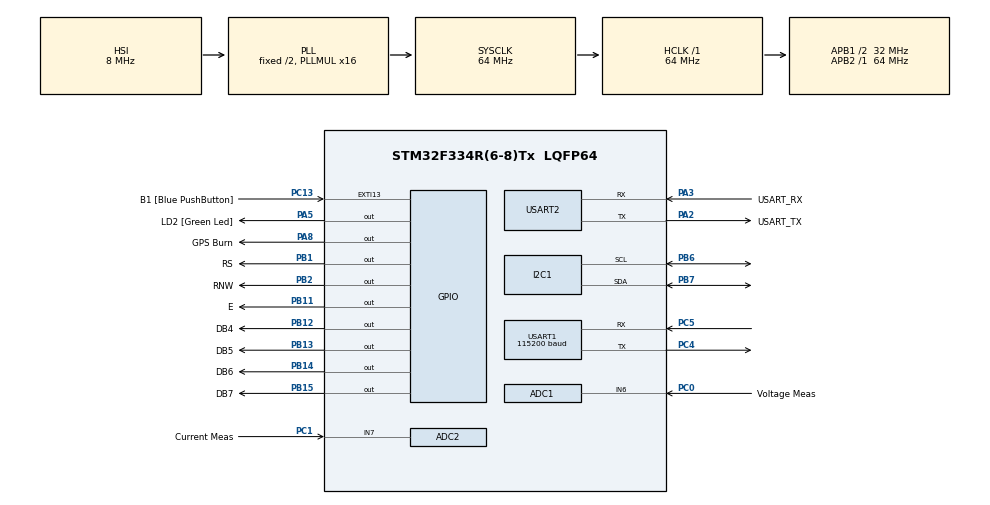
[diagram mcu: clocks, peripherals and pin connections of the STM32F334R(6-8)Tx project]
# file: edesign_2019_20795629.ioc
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ADC1.Channel-0\#ChannelRegularConversion=ADC_CHANNEL_6
ADC1.ClockPrescaler=ADC_CLOCK_ASYNC_DIV1
ADC1.ContinuousConvMode=DISABLE
ADC1.DiscontinuousConvMode=DISABLE
ADC1.InjNumberOfConversion=0
ADC1.NbrOfConversion=1
ADC1.NbrOfConversionFlag=1
ADC1.Offset-0\#ChannelRegularConversion=0
ADC1.OffsetNumber-0\#ChannelRegularConversion=ADC_OFFSET_NONE
ADC1.Rank-0\#ChannelRegularConversion=1
ADC1.Resolution=ADC_RESOLUTION_12B
ADC1.SamplingTime-0\#ChannelRegularConversion=ADC_SAMPLETIME_2CYCLES_5
ADC1.SubFamily=STM32F334x8
ADC1.master=1
ADC2.Channel-24\#ChannelRegularConversion=ADC_CHANNEL_7
ADC2.ContinuousConvMode=DISABLE
ADC2.NbrOfConversion=1
ADC2.NbrOfConversionFlag=1
ADC2.Offset-24\#ChannelRegularConversion=0
ADC2.OffsetNumber-24\#ChannelRegularConversion=ADC_OFFSET_NONE
ADC2.Rank-24\#ChannelRegularConversion=1
ADC2.SamplingTime-24\#ChannelRegularConversion=ADC_SAMPLETIME_2CYCLES_5
ADC2.SubFamily=STM32F334x8
Mcu.Family=STM32F3
Mcu.Name=STM32F334R(6-8)Tx
Mcu.Package=LQFP64
NVIC.PriorityGroup=NVIC_PRIORITYGROUP_0
NVIC.TIM2_IRQn=true\:0\:0\:false\:false\:true\:true\:true
NVIC.TIM3_IRQn=true\:0\:0\:false\:false\:true\:true\:true
NVIC.USART1_IRQn=true\:0\:0\:false\:false\:true\:true\:true
PA13.GPIO_Label=TMS
PA13.Mode=Serial_Wire
PA13.Signal=SYS_JTMS-SWDIO
PA14.GPIO_Label=TCK
PA14.Mode=Serial_Wire
PA14.Signal=SYS_JTCK-SWCLK
PA2.GPIO_Label=USART_TX
PA2.Mode=Asynchronous
PA2.Signal=USART2_TX
PA3.GPIO_Label=USART_RX
PA3.Mode=Asynchronous
PA3.Signal=USART2_RX
PA5.GPIO_Label=LD2 [Green Led]
PA5.Signal=GPIO_Output
PA8.GPIO_Label=GPS Burn
PA8.Signal=GPIO_Output
PB1.GPIO_Label=RS
PB1.Signal=GPIO_Output
PB11.GPIO_Label=E
PB11.Signal=GPIO_Output
PB12.GPIO_Label=DB4
PB12.Signal=GPIO_Output
PB13.GPIO_Label=DB5
PB13.Signal=GPIO_Output
PB14.GPIO_Label=DB6
PB14.Signal=GPIO_Output
PB15.GPIO_Label=DB7
PB15.Signal=GPIO_Output
PB2.GPIO_Label=RNW
PB2.Signal=GPIO_Output
PB3.GPIO_Label=SWO
PB3.Signal=SYS_JTDO-TRACESWO
PB6.Mode=I2C
PB6.Signal=I2C1_SCL
PB7.Mode=I2C
PB7.Signal=I2C1_SDA
PC0.GPIO_Label=Voltage Meas
PC0.Signal=ADCx_IN6
PC1.GPIO_Label=Current Meas
PC1.Signal=ADCx_IN7
PC13.GPIO_Label=B1 [Blue PushButton]
PC13.GPIO_ModeDefaultEXTI=GPIO_MODE_IT_FALLING
PC13.Signal=GPXTI13
PC14\ /\ OSC32_IN.Mode=LSE-External-Oscillator
PC14\ /\ OSC32_IN.Signal=RCC_OSC32_IN
PC15\ /\ OSC32_OUT.GPIO_Label=RCC_OSC32_OUT
PC15\ /\ OSC32_OUT.Mode=LSE-External-Oscillator
PC15\ /\ OSC32_OUT.Signal=RCC_OSC32_OUT
PC4.Mode=Asynchronous
PC4.Signal=USART1_TX
PC5.Mode=Asynchronous
PC5.Signal=USART1_RX
PF0\ /\ OSC_IN.Mode=HSE-External-Clock-Source
PF0\ /\ OSC_IN.Signal=RCC_OSC_IN
PF1\ /\ OSC_OUT.Signal=RCC_OSC_OUT
ProjectManager.HeapSize=0x200
ProjectManager.StackSize=0x400
ProjectManager.TargetToolchain=TrueSTUDIO
RCC.AHBFreq_Value=64000000
RCC.APB1CLKDivider=RCC_HCLK_DIV2
RCC.APB1Freq_Value=32000000
RCC.APB1TimFreq_Value=64000000
RCC.APB2Freq_Value=64000000
RCC.APB2TimFreq_Value=64000000
RCC.CortexFreq_Value=64000000
RCC.FLatency-AdvancedSettings=FLASH_LATENCY_2
RCC.HCLKFreq_Value=64000000
RCC.HSE_VALUE=8000000
RCC.HSI_VALUE=8000000
RCC.PLLMUL=RCC_PLL_MUL16
RCC.SYSCLKFreq_VALUE=64000000
RCC.SYSCLKSourceVirtual=RCC_SYSCLKSOURCE_PLLCLK
SH.ADCx_IN6.0=ADC1_IN6,IN6-Single-Ended
SH.ADCx_IN7.0=ADC2_IN7,IN7-Single-Ended
TIM2.Period=15999
TIM2.Prescaler=4000
TIM3.Period=799
TIM3.Prescaler=4000
USART1.BaudRate=115200
USART1.VirtualMode-Asynchronous=VM_ASYNC
USART2.VirtualMode-Asynchronous=VM_ASYNC
VP_TIM2_VS_ClockSourceINT.Mode=Internal
VP_TIM3_VS_ClockSourceINT.Mode=Internal
board=NUCLEO-F334R8

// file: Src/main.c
/* USER CODE BEGIN Header */
/**
  ******************************************************************************
  * @file           : main.c
  * @brief          : Main program body
  ******************************************************************************
  ** This notice applies to any and all portions of this file
  * that are not between comment pairs USER CODE BEGIN and
  * USER CODE END. Other portions of this file, whether
  * inserted by the user or by software development tools
  * are owned by their respective copyright owners.
  *
  * COPYRIGHT(c) 2019 STMicroelectronics
  *
  * Redistribution and use in source and binary forms, with or without modification,
  * are permitted provided that the following conditions are met:
  *   1. Redistributions of source code must retain the above copyright notice,
  *      this list of conditions and the following disclaimer.
  *   2. Redistributions in binary form must reproduce the above copyright notice,
  *      this list of conditions and the following disclaimer in the documentation
  *      and/or other materials provided with the distribution.
  *   3. Neither the name of STMicroelectronics nor the names of its contributors
  *      may be used to endorse or promote products derived from this software
  *      without specific prior written permission.
  *
  * THIS SOFTWARE IS PROVIDED BY THE COPYRIGHT HOLDERS AND CONTRIBUTORS "AS IS"
  * AND ANY EXPRESS OR IMPLIED WARRANTIES, INCLUDING, BUT NOT LIMITED TO, THE
  * IMPLIED WARRANTIES OF MERCHANTABILITY AND FITNESS FOR A PARTICULAR PURPOSE ARE
  * DISCLAIMED. IN NO EVENT SHALL THE COPYRIGHT HOLDER OR CONTRIBUTORS BE LIABLE
  * FOR ANY DIRECT, INDIRECT, INCIDENTAL, SPECIAL, EXEMPLARY, OR CONSEQUENTIAL
  * DAMAGES (INCLUDING, BUT NOT LIMITED TO, PROCUREMENT OF SUBSTITUTE GOODS OR
  * SERVICES; LOSS OF USE, DATA, OR PROFITS; OR BUSINESS INTERRUPTION) HOWEVER
  * CAUSED AND ON ANY THEORY OF LIABILITY, WHETHER IN CONTRACT, STRICT LIABILITY,
  * OR TORT (INCLUDING NEGLIGENCE OR OTHERWISE) ARISING IN ANY WAY OUT OF THE USE
  * OF THIS SOFTWARE, EVEN IF ADVISED OF THE POSSIBILITY OF SUCH DAMAGE.
  *
  ******************************************************************************
  */
/* USER CODE END Header */

#include "main.h"

/* USER CODE BEGIN Includes */
#include "bme280.h"
#include "functions.h"
#include "lis2dh12_reg.h"
/* USER CODE END Includes */

ADC_HandleTypeDef hadc1;
ADC_HandleTypeDef hadc2;

I2C_HandleTypeDef hi2c1;

TIM_HandleTypeDef htim2;
TIM_HandleTypeDef htim3;

UART_HandleTypeDef huart1;
UART_HandleTypeDef huart2;

/* USER CODE BEGIN PV */
//extern volatile uint8_t count_flag;
//extern int runtime;
//extern char out_string[90];
/* USER CODE END PV */

void SystemClock_Config(void);
static void MX_GPIO_Init(void);
static void MX_USART2_UART_Init(void);
static void MX_USART1_UART_Init(void);
static void MX_TIM2_Init(void);
static void MX_ADC1_Init(void);
static void MX_ADC2_Init(void);
static void MX_TIM3_Init(void);
static void MX_I2C1_Init(void);

int main(void)
{

  /* MCU Configuration--------------------------------------------------------*/

  /* Reset of all peripherals, Initializes the Flash interface and the Systick. */
  HAL_Init();

  /* USER CODE BEGIN Init */
  runtime = 0;
  in_len = 0;
  cnt_readings = 0;
  syscounter=0;

  count_flag = 0;
  burn_flag = 0;
  message_flag = 0;
  adc_flag = 0;

  curr_counter = 0;
  prev_counter = 0;

  /* USER CODE END Init */

  /* Configure the system clock */
  SystemClock_Config();

  /* Initialize all configured peripherals */
  MX_GPIO_Init();
  MX_USART2_UART_Init();
  MX_USART1_UART_Init();
  MX_TIM2_Init();
  MX_ADC1_Init();
  MX_ADC2_Init();
  MX_TIM3_Init();
  MX_I2C1_Init();
  /* USER CODE BEGIN 2 */
  __HAL_TIM_ENABLE(&htim2);
  __HAL_TIM_ENABLE(&htim3);
  __HAL_TIM_ENABLE_IT(&htim2, TIM_IT_UPDATE);
  __HAL_TIM_ENABLE_IT(&htim3, TIM_IT_UPDATE);
  HAL_ADC_Start(&hadc1);
  HAL_ADC_Start(&hadc2);
  HAL_UART_Receive_IT(&huart1, in_string, 1);

  HAL_ADC_PollForConversion(&hadc1, 1);
  HAL_ADC_PollForConversion(&hadc2, 1);

  init_temp_sensor();
  init_accel_sensor();
  init_lcd();
  /* USER CODE END 2 */

  /* Infinite loop */
  /* USER CODE BEGIN WHILE */
  while (1)
  {
	  prev_counter = HAL_GetTick();

	  lcd_run_process();

	  if(message_flag)
	  {
		  uart_receive();
	  }
	  if(adc_flag)
	  {
		  read_adc(hadc1, hadc2);
	  }
	  if(count_flag)
	  {
		  calc_avg();
		  receive_temp_data();
		  receive_accel_data();
		  uart_transmit(huart1);
		  if(burn_flag && burn_down_cnt > 0)
		  {
			  burn_down(huart1);
		  }
	  }

	  curr_counter = HAL_GetTick();

	  if( (curr_counter - prev_counter) >  max_runtime)
	  {
		  max_runtime = (curr_counter - prev_counter);
	  }

    /* USER CODE END WHILE */

  }
}

void SystemClock_Config(void)
{
  RCC_OscInitTypeDef RCC_OscInitStruct = {0};
  RCC_ClkInitTypeDef RCC_ClkInitStruct = {0};
  RCC_PeriphCLKInitTypeDef PeriphClkInit = {0};

  /**Initializes the CPU, AHB and APB busses clocks
  */
  RCC_OscInitStruct.OscillatorType = RCC_OSCILLATORTYPE_HSI;
  RCC_OscInitStruct.HSIState = RCC_HSI_ON;
  RCC_OscInitStruct.HSICalibrationValue = RCC_HSICALIBRATION_DEFAULT;
  RCC_OscInitStruct.PLL.PLLState = RCC_PLL_ON;
  RCC_OscInitStruct.PLL.PLLSource = RCC_PLLSOURCE_HSI;
  RCC_OscInitStruct.PLL.PLLMUL = RCC_PLL_MUL16;
  if (HAL_RCC_OscConfig(&RCC_OscInitStruct) != HAL_OK)
  {
    Error_Handler();
  }
  /**Initializes the CPU, AHB and APB busses clocks
  */
  RCC_ClkInitStruct.ClockType = RCC_CLOCKTYPE_HCLK|RCC_CLOCKTYPE_SYSCLK
                              |RCC_CLOCKTYPE_PCLK1|RCC_CLOCKTYPE_PCLK2;
  RCC_ClkInitStruct.SYSCLKSource = RCC_SYSCLKSOURCE_PLLCLK;
  RCC_ClkInitStruct.AHBCLKDivider = RCC_SYSCLK_DIV1;
  RCC_ClkInitStruct.APB1CLKDivider = RCC_HCLK_DIV2;
  RCC_ClkInitStruct.APB2CLKDivider = RCC_HCLK_DIV1;

  if (HAL_RCC_ClockConfig(&RCC_ClkInitStruct, FLASH_LATENCY_2) != HAL_OK)
  {
    Error_Handler();
  }
  PeriphClkInit.PeriphClockSelection = RCC_PERIPHCLK_USART1|RCC_PERIPHCLK_I2C1
                              |RCC_PERIPHCLK_ADC12;
  PeriphClkInit.Usart1ClockSelection = RCC_USART1CLKSOURCE_PCLK1;
  PeriphClkInit.Adc12ClockSelection = RCC_ADC12PLLCLK_DIV1;
  PeriphClkInit.I2c1ClockSelection = RCC_I2C1CLKSOURCE_HSI;
  if (HAL_RCCEx_PeriphCLKConfig(&PeriphClkInit) != HAL_OK)
  {
    Error_Handler();
  }
}

static void MX_ADC1_Init(void)
{

  ADC_MultiModeTypeDef multimode = {0};
  ADC_ChannelConfTypeDef sConfig = {0};

  /**Common config
  */
  hadc1.Instance = ADC1;
  hadc1.Init.ClockPrescaler = ADC_CLOCK_ASYNC_DIV1;
  hadc1.Init.Resolution = ADC_RESOLUTION_12B;
  hadc1.Init.ScanConvMode = ADC_SCAN_DISABLE;
  hadc1.Init.ContinuousConvMode = DISABLE;
  hadc1.Init.DiscontinuousConvMode = DISABLE;
  hadc1.Init.ExternalTrigConvEdge = ADC_EXTERNALTRIGCONVEDGE_NONE;
  hadc1.Init.ExternalTrigConv = ADC_SOFTWARE_START;
  hadc1.Init.DataAlign = ADC_DATAALIGN_RIGHT;
  hadc1.Init.NbrOfConversion = 1;
  hadc1.Init.DMAContinuousRequests = DISABLE;
  hadc1.Init.EOCSelection = ADC_EOC_SINGLE_CONV;
  hadc1.Init.LowPowerAutoWait = DISABLE;
  hadc1.Init.Overrun = ADC_OVR_DATA_OVERWRITTEN;
  if (HAL_ADC_Init(&hadc1) != HAL_OK)
  {
    Error_Handler();
  }
  /**Configure the ADC multi-mode
  */
  multimode.Mode = ADC_MODE_INDEPENDENT;
  if (HAL_ADCEx_MultiModeConfigChannel(&hadc1, &multimode) != HAL_OK)
  {
    Error_Handler();
  }
  /**Configure Regular Channel
  */
  sConfig.Channel = ADC_CHANNEL_6;
  sConfig.Rank = ADC_REGULAR_RANK_1;
  sConfig.SingleDiff = ADC_SINGLE_ENDED;
  sConfig.SamplingTime = ADC_SAMPLETIME_2CYCLES_5;
  sConfig.OffsetNumber = ADC_OFFSET_NONE;
  sConfig.Offset = 0;
  if (HAL_ADC_ConfigChannel(&hadc1, &sConfig) != HAL_OK)
  {
    Error_Handler();
  }

}

static void MX_ADC2_Init(void)
{

  ADC_ChannelConfTypeDef sConfig = {0};

  /**Common config
  */
  hadc2.Instance = ADC2;
  hadc2.Init.ClockPrescaler = ADC_CLOCK_ASYNC_DIV1;
  hadc2.Init.Resolution = ADC_RESOLUTION_12B;
  hadc2.Init.ScanConvMode = ADC_SCAN_DISABLE;
  hadc2.Init.ContinuousConvMode = DISABLE;
  hadc2.Init.DiscontinuousConvMode = DISABLE;
  hadc2.Init.ExternalTrigConvEdge = ADC_EXTERNALTRIGCONVEDGE_NONE;
  hadc2.Init.ExternalTrigConv = ADC_SOFTWARE_START;
  hadc2.Init.DataAlign = ADC_DATAALIGN_RIGHT;
  hadc2.Init.NbrOfConversion = 1;
  hadc2.Init.DMAContinuousRequests = DISABLE;
  hadc2.Init.EOCSelection = ADC_EOC_SINGLE_CONV;
  hadc2.Init.LowPowerAutoWait = DISABLE;
  hadc2.Init.Overrun = ADC_OVR_DATA_OVERWRITTEN;
  if (HAL_ADC_Init(&hadc2) != HAL_OK)
  {
    Error_Handler();
  }
  /**Configure Regular Channel
  */
  sConfig.Channel = ADC_CHANNEL_7;
  sConfig.Rank = ADC_REGULAR_RANK_1;
  sConfig.SingleDiff = ADC_SINGLE_ENDED;
  sConfig.SamplingTime = ADC_SAMPLETIME_2CYCLES_5;
  sConfig.OffsetNumber = ADC_OFFSET_NONE;
  sConfig.Offset = 0;
  if (HAL_ADC_ConfigChannel(&hadc2, &sConfig) != HAL_OK)
  {
    Error_Handler();
  }

}

static void MX_I2C1_Init(void)
{

  hi2c1.Instance = I2C1;
  hi2c1.Init.Timing = 0x2000090E;
  hi2c1.Init.OwnAddress1 = 0;
  hi2c1.Init.AddressingMode = I2C_ADDRESSINGMODE_7BIT;
  hi2c1.Init.DualAddressMode = I2C_DUALADDRESS_DISABLE;
  hi2c1.Init.OwnAddress2 = 0;
  hi2c1.Init.OwnAddress2Masks = I2C_OA2_NOMASK;
  hi2c1.Init.GeneralCallMode = I2C_GENERALCALL_DISABLE;
  hi2c1.Init.NoStretchMode = I2C_NOSTRETCH_DISABLE;
  if (HAL_I2C_Init(&hi2c1) != HAL_OK)
  {
    Error_Handler();
  }
  /**Configure Analogue filter
  */
  if (HAL_I2CEx_ConfigAnalogFilter(&hi2c1, I2C_ANALOGFILTER_ENABLE) != HAL_OK)
  {
    Error_Handler();
  }
  /**Configure Digital filter
  */
  if (HAL_I2CEx_ConfigDigitalFilter(&hi2c1, 0) != HAL_OK)
  {
    Error_Handler();
  }

}

static void MX_TIM2_Init(void)
{

  TIM_ClockConfigTypeDef sClockSourceConfig = {0};
  TIM_MasterConfigTypeDef sMasterConfig = {0};

  htim2.Instance = TIM2;
  htim2.Init.Prescaler = 4000;
  htim2.Init.CounterMode = TIM_COUNTERMODE_UP;
  htim2.Init.Period = 15999;
  htim2.Init.ClockDivision = TIM_CLOCKDIVISION_DIV1;
  htim2.Init.AutoReloadPreload = TIM_AUTORELOAD_PRELOAD_DISABLE;
  if (HAL_TIM_Base_Init(&htim2) != HAL_OK)
  {
    Error_Handler();
  }
  sClockSourceConfig.ClockSource = TIM_CLOCKSOURCE_INTERNAL;
  if (HAL_TIM_ConfigClockSource(&htim2, &sClockSourceConfig) != HAL_OK)
  {
    Error_Handler();
  }
  sMasterConfig.MasterOutputTrigger = TIM_TRGO_RESET;
  sMasterConfig.MasterSlaveMode = TIM_MASTERSLAVEMODE_DISABLE;
  if (HAL_TIMEx_MasterConfigSynchronization(&htim2, &sMasterConfig) != HAL_OK)
  {
    Error_Handler();
  }

}

static void MX_TIM3_Init(void)
{

  TIM_ClockConfigTypeDef sClockSourceConfig = {0};
  TIM_MasterConfigTypeDef sMasterConfig = {0};

  htim3.Instance = TIM3;
  htim3.Init.Prescaler = 4000;
  htim3.Init.CounterMode = TIM_COUNTERMODE_UP;
  htim3.Init.Period = 799;
  htim3.Init.ClockDivision = TIM_CLOCKDIVISION_DIV1;
  htim3.Init.AutoReloadPreload = TIM_AUTORELOAD_PRELOAD_DISABLE;
  if (HAL_TIM_Base_Init(&htim3) != HAL_OK)
  {
    Error_Handler();
  }
  sClockSourceConfig.ClockSource = TIM_CLOCKSOURCE_INTERNAL;
  if (HAL_TIM_ConfigClockSource(&htim3, &sClockSourceConfig) != HAL_OK)
  {
    Error_Handler();
  }
  sMasterConfig.MasterOutputTrigger = TIM_TRGO_RESET;
  sMasterConfig.MasterSlaveMode = TIM_MASTERSLAVEMODE_DISABLE;
  if (HAL_TIMEx_MasterConfigSynchronization(&htim3, &sMasterConfig) != HAL_OK)
  {
    Error_Handler();
  }

}

static void MX_USART1_UART_Init(void)
{

  huart1.Instance = USART1;
  huart1.Init.BaudRate = 115200;
  huart1.Init.WordLength = UART_WORDLENGTH_8B;
  huart1.Init.StopBits = UART_STOPBITS_1;
  huart1.Init.Parity = UART_PARITY_NONE;
  huart1.Init.Mode = UART_MODE_TX_RX;
  huart1.Init.HwFlowCtl = UART_HWCONTROL_NONE;
  huart1.Init.OverSampling = UART_OVERSAMPLING_16;
  huart1.Init.OneBitSampling = UART_ONE_BIT_SAMPLE_DISABLE;
  huart1.AdvancedInit.AdvFeatureInit = UART_ADVFEATURE_NO_INIT;
  if (HAL_UART_Init(&huart1) != HAL_OK)
  {
    Error_Handler();
  }

}

static void MX_USART2_UART_Init(void)
{

  huart2.Instance = USART2;
  huart2.Init.BaudRate = 38400;
  huart2.Init.WordLength = UART_WORDLENGTH_8B;
  huart2.Init.StopBits = UART_STOPBITS_1;
  huart2.Init.Parity = UART_PARITY_NONE;
  huart2.Init.Mode = UART_MODE_TX_RX;
  huart2.Init.HwFlowCtl = UART_HWCONTROL_NONE;
  huart2.Init.OverSampling = UART_OVERSAMPLING_16;
  huart2.Init.OneBitSampling = UART_ONE_BIT_SAMPLE_DISABLE;
  huart2.AdvancedInit.AdvFeatureInit = UART_ADVFEATURE_NO_INIT;
  if (HAL_UART_Init(&huart2) != HAL_OK)
  {
    Error_Handler();
  }

}

static void MX_GPIO_Init(void)
{
  GPIO_InitTypeDef GPIO_InitStruct = {0};

  /* GPIO Ports Clock Enable */
  __HAL_RCC_GPIOC_CLK_ENABLE();
  __HAL_RCC_GPIOF_CLK_ENABLE();
  __HAL_RCC_GPIOA_CLK_ENABLE();
  __HAL_RCC_GPIOB_CLK_ENABLE();

  /*Configure GPIO pin Output Level */
  HAL_GPIO_WritePin(GPIOA, LD2_Pin|GPS_Burn_Pin, GPIO_PIN_RESET);

  /*Configure GPIO pin Output Level */
  HAL_GPIO_WritePin(GPIOB, RS_Pin|RNW_Pin|E_Pin|DB4_Pin
                          |DB5_Pin|DB6_Pin|DB7_Pin, GPIO_PIN_RESET);

  /*Configure GPIO pin : B1_Pin */
  GPIO_InitStruct.Pin = B1_Pin;
  GPIO_InitStruct.Mode = GPIO_MODE_IT_FALLING;
  GPIO_InitStruct.Pull = GPIO_NOPULL;
  HAL_GPIO_Init(B1_GPIO_Port, &GPIO_InitStruct);

  /*Configure GPIO pins : LD2_Pin GPS_Burn_Pin */
  GPIO_InitStruct.Pin = LD2_Pin|GPS_Burn_Pin;
  GPIO_InitStruct.Mode = GPIO_MODE_OUTPUT_PP;
  GPIO_InitStruct.Pull = GPIO_NOPULL;
  GPIO_InitStruct.Speed = GPIO_SPEED_FREQ_LOW;
  HAL_GPIO_Init(GPIOA, &GPIO_InitStruct);

  /*Configure GPIO pins : RS_Pin RNW_Pin E_Pin DB4_Pin
                           DB5_Pin DB6_Pin DB7_Pin */
  GPIO_InitStruct.Pin = RS_Pin|RNW_Pin|E_Pin|DB4_Pin
                          |DB5_Pin|DB6_Pin|DB7_Pin;
  GPIO_InitStruct.Mode = GPIO_MODE_OUTPUT_PP;
  GPIO_InitStruct.Pull = GPIO_NOPULL;
  GPIO_InitStruct.Speed = GPIO_SPEED_FREQ_LOW;
  HAL_GPIO_Init(GPIOB, &GPIO_InitStruct);

}

void Error_Handler(void)
{
}

/************************ (C) COPYRIGHT STMicroelectronics *****END OF FILE****/
